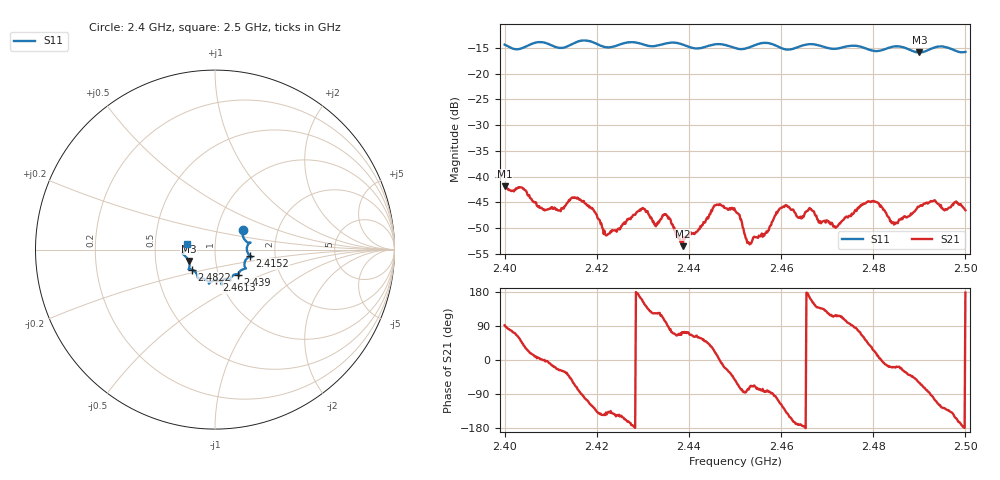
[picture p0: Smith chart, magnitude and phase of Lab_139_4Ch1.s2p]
# Hz S RI R 50
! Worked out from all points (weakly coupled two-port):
!   601 points, 2.4 GHz to 2.5 GHz, reference 50 ohm
!   highest |S21| = -41.89 dB at 2.4 GHz (marker M1); lowest = -53.5 dB at 2.4387 GHz (marker M2)
!   lowest |S11| = -15.9 dB at 2.49 GHz (marker M3), VSWR 1.38, Z = 36.9 - j4.85 ohm
!   |S11| at or under -10 dB: start of sweep to end of sweep
!   S12 and S22 are empty: the file has one direction only
!   S11 on the Smith chart (normalised r, x): 2.4 GHz: 1.33, +0.31; 2.4152 GHz: 1.48, -0.11; 2.439 GHz: 1.24, -0.36; 2.4613 GHz: 0.96, -0.34; 2.4822 GHz: 0.76, -0.17; 2.5 GHz: 0.72, +0.05
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2.4e9  0.1556 0.1109  -0.000214 0.00804  0 0  0 0
2.408667e9  0.1957 0.0393  0.00469 7.18e-06  0 0  0 0
2.415167e9  0.1947 -0.0358  0.00265 -0.0056  0 0  0 0
2.416667e9  0.2045 -0.0416  6.49e-07 -0.00583  0 0  0 0
2.422e9  0.1701 -0.0593  -0.00201 -0.00178  0 0  0 0
2.429833e9  0.1607 -0.1079  -0.00458 0.00177  0 0  0 0
2.433333e9  0.1327 -0.1329  -0.00204 0.00301  0 0  0 0
2.435167e9  0.1321 -0.1458  -0.000441 0.00416  0 0  0 0
2.438667e9  0.1296 -0.1403  0.000602 0.00202  0 0  0 0
2.439e9  0.1276 -0.139  0.000671 0.00237  0 0  0 0
2.445833e9  0.0846 -0.173  0.00501 0.00161  0 0  0 0
2.45e9  0.0686 -0.1633  0.00282 -0.00375  0 0  0 0
2.453167e9  0.0378 -0.1761  0.000677 -0.00209  0 0  0 0
2.461333e9  0.00768 -0.1708  -0.004 -0.00326  0 0  0 0
2.464e9  -0.0267 -0.1812  -0.00395 -0.000611  0 0  0 0
2.466667e9  -0.0332 -0.19  -0.00433 0.00189  0 0  0 0
2.471833e9  -0.0637 -0.1622  -0.00151 0.00279  0 0  0 0
2.4785e9  -0.0987 -0.1438  0.00352 0.00436  0 0  0 0
2.482167e9  -0.1284 -0.1118  0.00472 -0.00055  0 0  0 0
2.483333e9  -0.1396 -0.1101  0.00383 -0.00124  0 0  0 0
2.49e9  -0.1469 -0.064  0.00252 -0.00445  0 0  0 0
2.5e9  -0.1586 0.0339  -0.00471 0.000182  0 0  0 0
